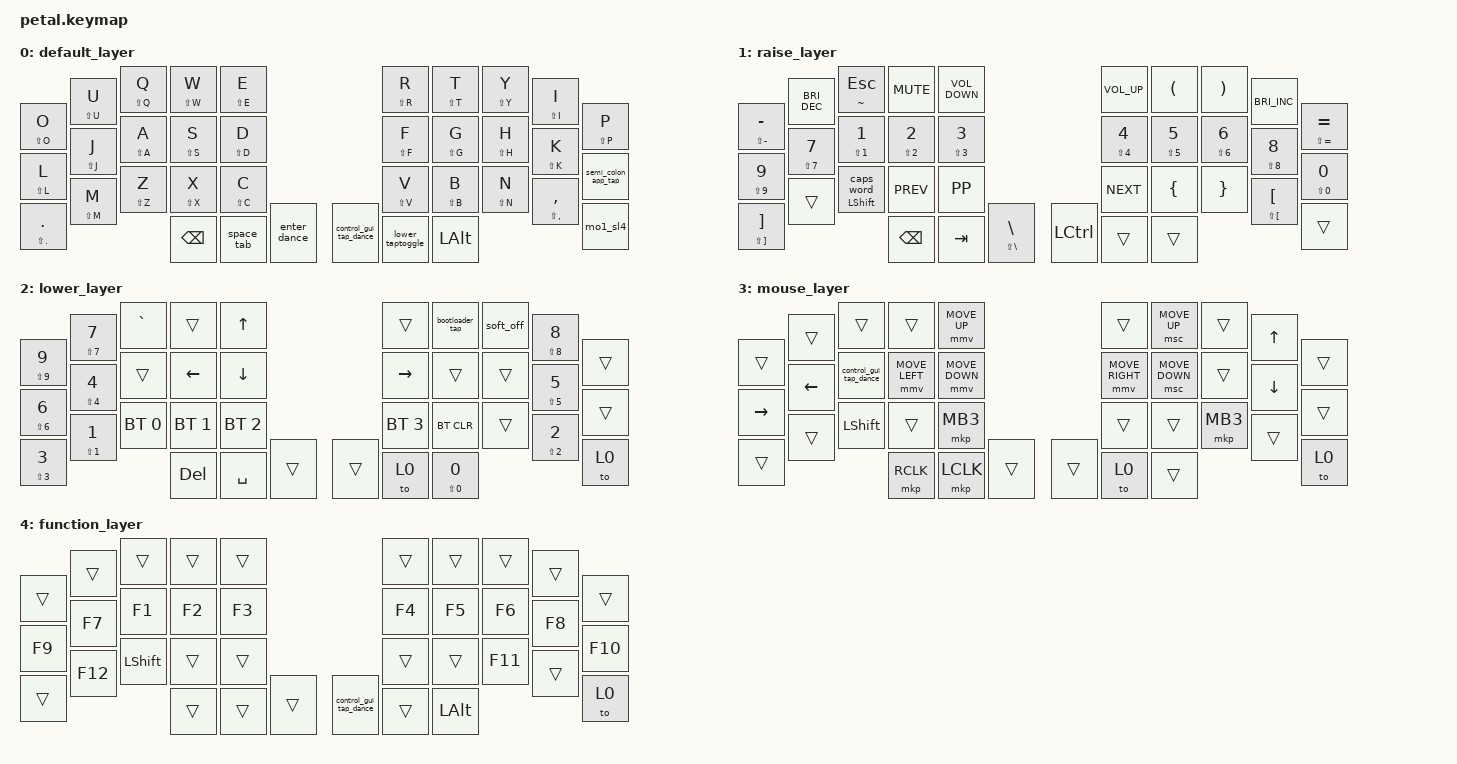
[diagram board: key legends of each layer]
#define ZMK_MOUSE_DEFAULT_MOVE_VAL 950
#define ZMK_MOUSE_DEFAULT_SCRL_VAL 1

#include <dt-bindings/zmk/mouse.h>
#include <behaviors/mouse_keys.dtsi>
#include <behaviors.dtsi>
#include <dt-bindings/zmk/bt.h>
#include <dt-bindings/zmk/keys.h>
#include <dt-bindings/zmk/pointing.h>

#define DEFAULT 0
#define LOWER   1
#define RAISE   2
#define MOUSE   3

&msc {
    acceleration-exponent = <1>;
    time-to-max-speed-ms = <500>;      // 300
    delay-ms = <0>;
};

&mmv {
    acceleration-exponent = <1>;      // 1
    time-to-max-speed-ms = <300>;     // 300
    delay-ms = <0>;                   // 0
};

&soft_off {
    hold-time-ms = <500>; // Only turn off it the key is held for 5 seconds or longer.
};

/ {
    combos {
        compatible = "zmk,combos";

        mouse_layer_combo {
            bindings = <&to 3>;
            key-positions = <31 34>;
        };
    };

    behaviors {
        enter_dance: enter_dance {
            compatible = "zmk,behavior-tap-dance";
            #binding-cells = <0>;
            bindings =
                <&auto_shift_short QUESTION ENTER>,
                <&auto_shift_short LS(ENTER) SLASH>;

            tapping-term-ms = <200>;
        };

        space_tab: space_tab {
            compatible = "zmk,behavior-tap-dance";
            #binding-cells = <0>;
            bindings = <&kp SPACE>, <&kp TAB>;
        };

        lower_taptoggle: lower_taptoggle {
            compatible = "zmk,behavior-tap-dance";
            #binding-cells = <0>;
            bindings = <&mo 2>, <&to 2>;
        };

        bootloader_tap: bootloader_tap {
            compatible = "zmk,behavior-tap-dance";
            #binding-cells = <0>;
            bindings = <&none>, <&bootloader>;
        };

        auto_shift: auto_shift {
            compatible = "zmk,behavior-hold-tap";
            bindings = <&kp>, <&kp>;

            #binding-cells = <2>;
            flavor = "tap-preferred";
            tapping-term-ms = <150>;
        };

        semi_colon_app_tap: semi_colon_app_tap {
            compatible = "zmk,behavior-tap-dance";
            #binding-cells = <0>;
            bindings =
                <&auto_shift_short LS(SEMI) SEMI>,
                <&auto_shift_short LS(APOSTROPHE) APOSTROPHE>;

            tapping-term-ms = <200>;
        };

        control_gui_tap_dance: control_gui_tap_dance {
            compatible = "zmk,behavior-tap-dance";
            #binding-cells = <0>;
            bindings = <&kp LEFT_CONTROL>, <&kp LEFT_COMMAND>;
        };

        auto_shift_short: auto_shift_short {
            compatible = "zmk,behavior-hold-tap";
            bindings = <&kp>, <&kp>;

            #binding-cells = <2>;
            tapping-term-ms = <100>;
            flavor = "tap-preferred";
        };

        mo1_sl4: mo1_sl4 {
            compatible = "zmk,behavior-tap-dance";
            label = "MO1_SL4";
            #binding-cells = <0>;
            bindings = <&mo 1>, <&sl 4>;
        };

        caps_word_hold: caps_word_hold {
            compatible = "zmk,behavior-hold-tap";
            label = "CAPS_WORD_HOLD";
            bindings = <&kp>, <&caps_word>;

            #binding-cells = <2>;
            tapping-term-ms = <200>;
        };
    };

    keymap {
        compatible = "zmk,keymap";

        default_layer {
            bindings = <
&auto_shift LS(Q) Q  &auto_shift LS(W) W  &auto_shift LS(E) E     &auto_shift LS(R) R  &auto_shift LS(T) T    &auto_shift LS(Y) Y  &auto_shift LS(U) U  &auto_shift LS(I) I          &auto_shift LS(O) O      &auto_shift LS(P) P
&auto_shift LS(A) A  &auto_shift LS(S) S  &auto_shift LS(D) D     &auto_shift LS(F) F  &auto_shift LS(G) G    &auto_shift LS(H) H  &auto_shift LS(J) J  &auto_shift LS(K) K          &auto_shift LS(L) L      &semi_colon_app_tap
&auto_shift LS(Z) Z  &auto_shift LS(X) X  &auto_shift LS(C) C     &auto_shift LS(V) V  &auto_shift LS(B) B    &auto_shift LS(N) N  &auto_shift LS(M) M  &auto_shift LS(COMMA) COMMA  &auto_shift LS(DOT) DOT  &enter_dance
                                          &control_gui_tap_dance  &mo1_sl4             &kp BACKSPACE          &space_tab           &lower_taptoggle     &kp LEFT_ALT
            >;
        };

        raise_layer {
            bindings = <
&auto_shift TILDE ESCAPE           &kp K_MUTE                         &kp C_VOLUME_DOWN                  &kp C_VOLUME_UP                    &kp LEFT_PARENTHESIS     &kp RIGHT_PARENTHESIS              &kp C_BRIGHTNESS_DEC   &kp C_BRIGHTNESS_INC                       &auto_shift LS(MINUS) MINUS                  &auto_shift LS(EQUAL) EQUAL
&auto_shift LS(NUMBER_1) NUMBER_1  &auto_shift LS(NUMBER_2) NUMBER_2  &auto_shift LS(NUMBER_3) NUMBER_3  &auto_shift LS(NUMBER_4) NUMBER_4  &auto_shift LS(N5) N5    &auto_shift LS(NUMBER_6) NUMBER_6  &auto_shift LS(N7) N7  &auto_shift LS(N8) N8                      &auto_shift LS(N9) N9                        &auto_shift LS(N0) N0
&caps_word_hold LEFT_SHIFT 0       &kp K_PREV                         &kp K_PP                           &kp K_NEXT                         &kp LEFT_BRACE           &kp RIGHT_BRACE                    &trans                 &auto_shift LS(LEFT_BRACKET) LEFT_BRACKET  &auto_shift LS(RIGHT_BRACKET) RIGHT_BRACKET  &auto_shift LS(BACKSLASH) BACKSLASH
                                                                      &kp LEFT_CONTROL                   &trans                             &kp BACKSPACE            &kp TAB                            &trans                 &trans
            >;
        };

        lower_layer {
            bindings = <
&kp GRAVE     &trans        &kp UP_ARROW  &trans        &bootloader_tap    &soft_off  &auto_shift LS(N7) N7              &auto_shift LS(N8) N8              &auto_shift LS(N9) N9              &trans
&trans        &kp LEFT      &kp DOWN      &kp RIGHT     &trans             &trans     &auto_shift LS(NUMBER_4) NUMBER_4  &auto_shift LS(N5) N5              &auto_shift LS(NUMBER_6) NUMBER_6  &trans
&bt BT_SEL 0  &bt BT_SEL 1  &bt BT_SEL 2  &bt BT_SEL 3  &bt BT_CLR         &trans     &auto_shift LS(NUMBER_1) NUMBER_1  &auto_shift LS(NUMBER_2) NUMBER_2  &auto_shift LS(NUMBER_3) NUMBER_3  &trans
                            &trans        &to 0         &kp DELETE         &kp SPACE  &to 0                              &auto_shift LS(N0) N0
            >;
        };

        mouse_layer {
            bindings = <
&trans                  &trans          &mmv MOVE_UP    &trans           &msc MOVE_UP      &trans     &trans          &kp UP_ARROW    &trans           &trans
&control_gui_tap_dance  &mmv MOVE_LEFT  &mmv MOVE_DOWN  &mmv MOVE_RIGHT  &msc MOVE_DOWN    &trans     &kp LEFT_ARROW  &kp DOWN_ARROW  &kp RIGHT_ARROW  &trans
&kp LEFT_SHIFT          &trans          &mkp MB3        &trans           &trans            &mkp MB3   &trans          &trans          &trans           &trans
                                        &trans          &to 0            &mkp RCLK         &mkp LCLK  &to 0           &trans
            >;
        };

        function_layer {
            bindings = <
&trans          &trans  &trans                  &trans  &trans    &trans   &trans   &trans        &trans  &trans
&kp F1          &kp F2  &kp F3                  &kp F4  &kp F5    &kp F6   &kp F7   &kp F8        &kp F9  &kp F10
&kp LEFT_SHIFT  &trans  &trans                  &trans  &trans    &kp F11  &kp F12  &trans        &trans  &trans
                        &control_gui_tap_dance  &to 0   &trans    &trans   &trans   &kp LEFT_ALT
            >;
        };

        extra1 { status = "reserved"; };

        extra2 { status = "reserved"; };

        extra3 { status = "reserved"; };
    };
};

&pinctrl {
    spi0_default: spi0_default {
        group1 {
            psels =
                <NRF_PSEL(SPIM_SCK, 0, 17)>,
                <NRF_PSEL(SPIM_MOSI, 0, 20)>,
                <NRF_PSEL(SPIM_MISO, 0, 25)>;
        };
    };

    spi0_sleep: spi0_sleep {
        group1 {
            psels =
                <NRF_PSEL(SPIM_SCK, 0, 17)>,
                <NRF_PSEL(SPIM_MOSI, 0, 20)>,
                <NRF_PSEL(SPIM_MISO, 0, 25)>;

            low-power-enable;
        };
    };
};
